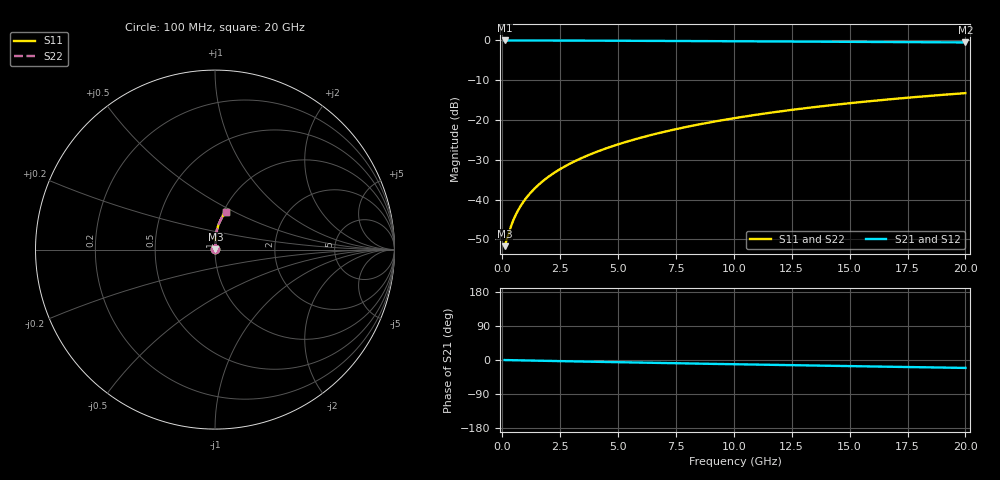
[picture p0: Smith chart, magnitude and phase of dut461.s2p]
! Touchstone file exported from HFSS 2024.1.0
!  File:  C:/UserFiles/LocalFiles/RDL_TSV_Batchsim/temp_RDL_top_461_1779677543.aedt
!  Generated:  10:54:55 AM May 25, 2026
!  Design:  RDL_top
!  Project:  temp_RDL_top_461_1779677543
!  Setup:  Setup1
!  Solution:  Sweep
! Variables:
!  dtsv = 10.80580581um
!  hbump = 3um
!  htsv = 77.16um
!  ldown = 100um
!  lrdl = 267.9um
!  p = 40
!  p1 = 45.64um
!  rhole = 1um
!  t = 450um
!  tdown = 3.915915916um
!  trdl = 2.14um
!  wdown = 15.38538539um
!  wrdl = 22.21um
# GHz S MA R 50.000000
! Terminal data exported
! Port[1] = Box2_T1
! Port[2] = Box2_T2
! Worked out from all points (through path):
!   200 points, 100 MHz to 20 GHz, reference 50 ohm
!   highest |S21| = -0.02 dB at 100 MHz (marker M1); lowest = -0.5 dB at 20 GHz (marker M2)
!   group delay of S21, straight-line fit = 2.88 ps
!   lowest |S11| = -51.7 dB at 100 MHz (marker M3), VSWR 1.01, Z = 50.2 + j0.106 ohm
!   |S11| at or under -10 dB: start of sweep to end of sweep
!   |S22| runs from -51.7 to -13.2 dB; largest |S21 - S12| = 4.6e-15
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0.1  0.002606 24.0  0.9976 -0.1  0.9976 -0.1  0.002606 24.0
! Gamma 0 0 0 0
! Port Impedance 50 0 50 0
0.3  0.003998 51.4  0.9975 -0.4  0.9975 -0.4  0.003998 51.4
0.4  0.004852 58.0  0.9974 -0.5  0.9974 -0.5  0.004852 58.0
0.6  0.006618 65.9  0.9971 -0.7  0.9971 -0.7  0.006618 65.9
0.7  0.007509 68.5  0.997 -0.9  0.997 -0.9  0.007509 68.5
0.9  0.009298 72.3  0.9968 -1.1  0.9968 -1.1  0.009298 72.3
1.2  0.01201 76.1  0.9965 -1.5  0.9965 -1.5  0.01201 76.1
1.4  0.01384 77.9  0.9963 -1.7  0.9963 -1.7  0.01384 77.9
1.7  0.01662 80.0  0.9959 -2.0  0.9959 -2.0  0.01662 80.0
2.2  0.02133 82.3  0.9953 -2.6  0.9953 -2.6  0.02133 82.3
2.8  0.02712 84.1  0.9943 -3.3  0.9943 -3.3  0.02712 84.1
3.5  0.03404 85.4  0.993 -4.1  0.993 -4.1  0.03404 85.4
4.2  0.04114 86.2  0.9914 -4.9  0.9914 -4.9  0.04114 86.2
5  0.04947 86.7  0.9895 -5.8  0.9895 -5.8  0.04947 86.7
5.9  0.0591 86.9  0.9871 -6.8  0.9871 -6.8  0.0591 86.9
6.8  0.06897 86.7  0.9845 -7.8  0.9845 -7.8  0.06897 86.7
8.4  0.08694 86.0  0.9797 -9.5  0.9797 -9.5  0.08695 86.0
10.1  0.1064 84.7  0.9744 -11.2  0.9744 -11.2  0.1064 84.7
11.7  0.1248 83.2  0.9694 -12.9  0.9694 -12.9  0.1249 83.2
13.4  0.1444 81.4  0.964 -14.6  0.964 -14.6  0.1444 81.4
16.7  0.1817 77.9  0.9533 -17.8  0.9533 -17.8  0.1817 77.9
20  0.2177 74.4  0.9424 -20.9  0.9424 -20.9  0.2177 74.4
